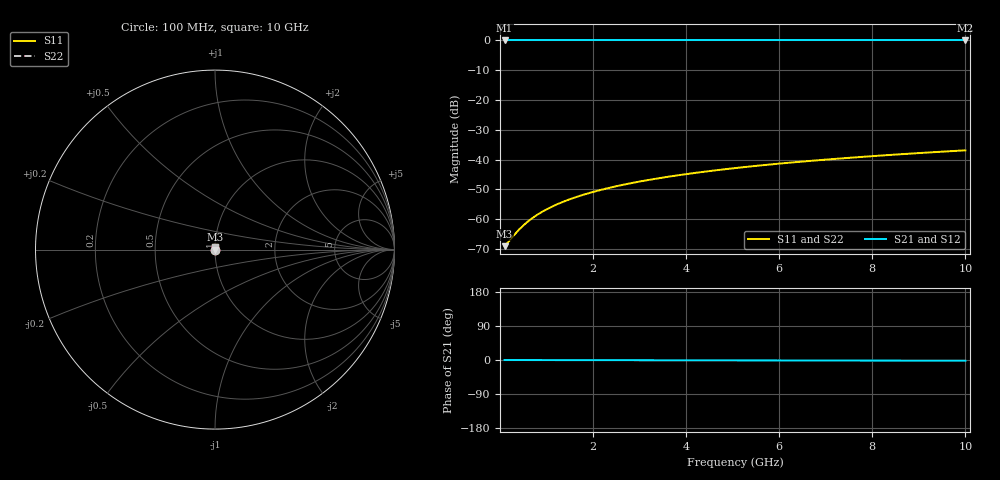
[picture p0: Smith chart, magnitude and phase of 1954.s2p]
# Hz S RI R 50.00
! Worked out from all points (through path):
!   100 points, 100 MHz to 10 GHz, reference 50 ohm
!   highest |S21| = 0.00 dB at 100 MHz (marker M1); lowest = 0.0 dB at 10 GHz (marker M2)
!   lowest |S11| = -69.0 dB at 100 MHz (marker M3), VSWR 1.00, Z = 50 + j0.0143 ohm
!   |S11| at or under -10 dB: start of sweep to end of sweep
!   |S22| runs from -69.0 to -36.9 dB; largest |S21 - S12| = 0
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1e8  0.000324 0.000143  0.9997 -0.000336  0.9997 -0.000336  0.000324 0.000143
2e8  0.000327 0.000285  0.9997 -0.000673  0.9997 -0.000673  0.000327 0.000285
3e8  0.000328 0.000428  0.9997 -0.00101  0.9997 -0.00101  0.000328 0.000428
4e8  0.00033 0.000571  0.9997 -0.00135  0.9997 -0.00135  0.00033 0.000571
5e8  0.000331 0.000713  0.9997 -0.00168  0.9997 -0.00168  0.000331 0.000713
6e8  0.000333 0.000856  0.9997 -0.00202  0.9997 -0.00202  0.000333 0.000856
7e8  0.000334 0.000998  0.9997 -0.00236  0.9997 -0.00236  0.000334 0.000998
8e8  0.000336 0.00114  0.9997 -0.00269  0.9997 -0.00269  0.000336 0.00114
1e9  0.000339 0.00143  0.9997 -0.00336  0.9997 -0.00336  0.000339 0.00143
1.2e9  0.000342 0.00171  0.9997 -0.00404  0.9997 -0.00404  0.000342 0.00171
1.5e9  0.000347 0.00214  0.9996 -0.00505  0.9996 -0.00505  0.000347 0.00214
1.8e9  0.000353 0.00257  0.9996 -0.00606  0.9996 -0.00606  0.000353 0.00257
2.1e9  0.00036 0.003  0.9996 -0.00707  0.9996 -0.00707  0.00036 0.003
2.5e9  0.00037 0.00357  0.9996 -0.00842  0.9996 -0.00842  0.00037 0.00357
2.9e9  0.000382 0.00414  0.9996 -0.00976  0.9996 -0.00976  0.000382 0.00414
3.4e9  0.000399 0.00485  0.9996 -0.0114  0.9996 -0.0114  0.000399 0.00485
4.2e9  0.00043 0.00599  0.9995 -0.0141  0.9995 -0.0141  0.00043 0.00599
5.1e9  0.000473 0.00728  0.9995 -0.0172  0.9995 -0.0172  0.000473 0.00728
5.9e9  0.000517 0.00843  0.9994 -0.0199  0.9994 -0.0199  0.000517 0.00843
6.7e9  0.000568 0.00957  0.9993 -0.0226  0.9993 -0.0226  0.000568 0.00957
8.4e9  0.000697 0.012  0.9992 -0.0284  0.9992 -0.0284  0.000697 0.012
1e10  0.000845 0.0143  0.9989 -0.0338  0.9989 -0.0338  0.000845 0.0143
